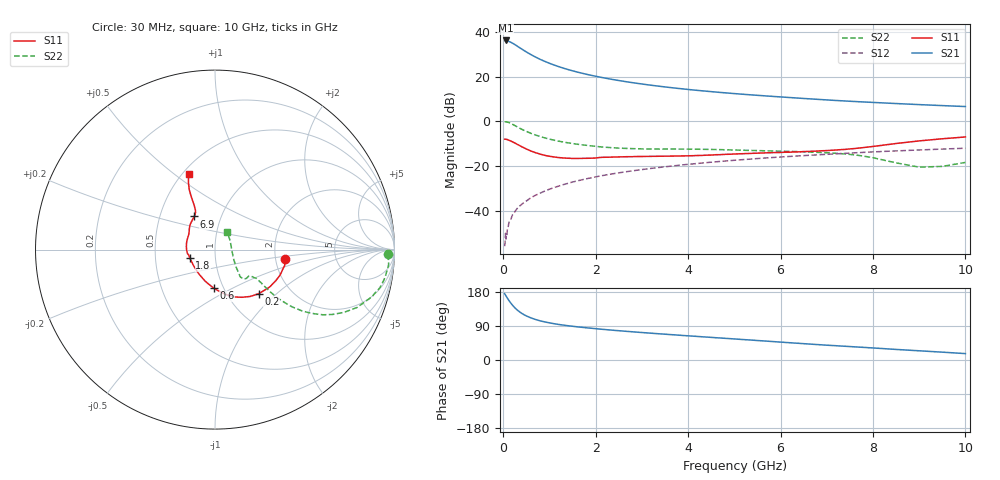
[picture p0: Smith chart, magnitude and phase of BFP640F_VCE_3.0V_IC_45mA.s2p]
! Infineon Technologies  Discrete & RF Semiconductors
! BFP640F
! VCE =  3.0 V,  IC =  45 mA
! Common Emitter S-Parameters:  Apr 2013
# GHz  S  MA  R  50
!  f  S11  S21  S12  S22
! GHz  MAG  ANG  MAG  ANG  MAG  ANG  MAG  ANG
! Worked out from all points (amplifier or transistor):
!   99 points, 30 MHz to 10 GHz, reference 50 ohm
!   highest |S21| = 36.1 dB at 50 MHz (marker M1)
!   |S21| within 3 dB of that: start of sweep to 337 MHz
!   unconditionally stable (mu >= 1): 1.498 GHz to end of sweep
!   at 350 MHz: K = 0.59, MSG = 35.5 dB, |S12| = -38.1 dB
!   at 3.5 GHz: K = 1.06, MAG = 16.3 dB, |S12| = -20.4 dB
!   at 10 GHz: K = 1.04, MAG = 8.1 dB, |S12| = -12.1 dB
!   S11 on the Smith chart (normalised r, x): 30 MHz: 2.27, -0.29; 200 MHz: 1.39, -0.78; 600 MHz: 0.90, -0.41; 1.8 GHz: 0.75, -0.07; 6.9 GHz: 0.74, +0.29; 10 GHz: 0.54, +0.56
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0.03  0.3963 -7.7  63.18 175.0  0.0016 95.2  0.9648 -1.6
0.05  0.3981 -13.1  64.03 171.2  0.0031 63.5  0.971 -4.9
0.08  0.3903 -19.7  63.44 165.1  0.0029 89.4  0.9613 -8.8
0.12  0.3756 -29.7  61.03 157.6  0.0051 90.3  0.9334 -14.2
0.2  0.3458 -45.4  55.67 144.7  0.008 76.9  0.8542 -22.2
0.25  0.326 -53.3  51.92 138.0  0.0094 79.4  0.7999 -25.9
0.3  0.3049 -60.6  48.12 132.2  0.0111 75.6  0.7495 -28.8
0.4  0.2686 -72.8  41.18 123.1  0.0138 75.4  0.6603 -32.8
0.5  0.2389 -82.6  35.44 116.3  0.0164 75.1  0.5917 -35.2
0.6  0.2152 -91.6  30.87 111.1  0.0194 76.2  0.5356 -36.6
0.8  0.1835 -107.7  24.18 103.3  0.0246 75.4  0.4541 -37.6
1  0.1644 -121.5  19.75 98.0  0.0301 74.9  0.3976 -37.5
1.3  0.1504 -139.7  15.39 92.1  0.0381 74.2  0.3418 -36.5
1.7  0.1473 -158.2  11.88 86.3  0.0488 72.7  0.2963 -35.1
1.8  0.1479 -162.0  11.22 85.0  0.0515 72.2  0.2888 -35.2
2.5  0.1589 178.1  8.133 77.3  0.0699 68.9  0.2503 -36.3
3.4  0.1648 160.0  6.015 68.9  0.093 64.2  0.2379 -39.9
5.1  0.1862 139.9  4.071 54.7  0.1359 54.9  0.2255 -45.6
6.7  0.213 124.4  3.131 41.5  0.1744 45.6  0.2026 -46.9
6.9  0.2182 122.2  3.038 39.9  0.1792 44.5  0.1989 -46.3
8.5  0.3169 114.3  2.484 27.9  0.2166 35.1  0.117 -27.2
10  0.4438 109.3  2.127 16.9  0.2488 26.2  0.1196 55.2
